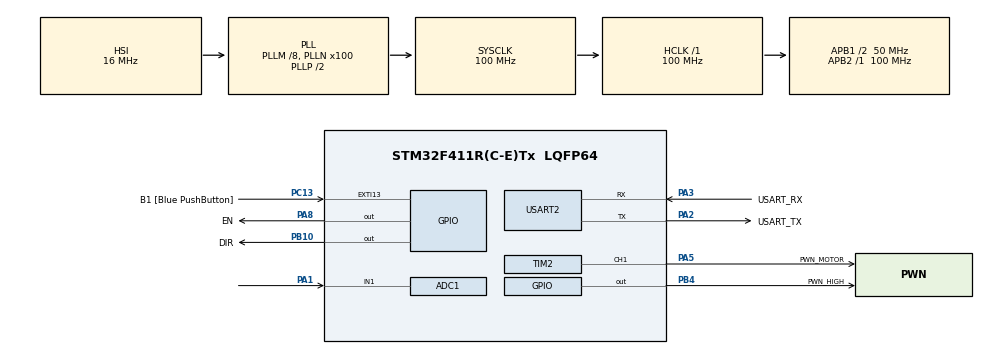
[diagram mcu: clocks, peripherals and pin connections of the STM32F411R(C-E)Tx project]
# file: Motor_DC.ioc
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ADC1.Channel-3\#ChannelRegularConversion=ADC_CHANNEL_1
ADC1.ContinuousConvMode=ENABLE
ADC1.DMAContinuousRequests=ENABLE
ADC1.NbrOfConversionFlag=1
ADC1.Rank-3\#ChannelRegularConversion=1
ADC1.SamplingTime-3\#ChannelRegularConversion=ADC_SAMPLETIME_3CYCLES
ADC1.master=1
Dma.ADC1.0.Direction=DMA_PERIPH_TO_MEMORY
Dma.ADC1.0.FIFOMode=DMA_FIFOMODE_DISABLE
Dma.ADC1.0.Instance=DMA2_Stream0
Dma.ADC1.0.MemDataAlignment=DMA_MDATAALIGN_HALFWORD
Dma.ADC1.0.MemInc=DMA_MINC_ENABLE
Dma.ADC1.0.Mode=DMA_NORMAL
Dma.ADC1.0.PeriphDataAlignment=DMA_PDATAALIGN_HALFWORD
Dma.ADC1.0.PeriphInc=DMA_PINC_DISABLE
Dma.ADC1.0.Priority=DMA_PRIORITY_LOW
Dma.Request0=ADC1
Mcu.Family=STM32F4
Mcu.Name=STM32F411R(C-E)Tx
Mcu.Package=LQFP64
NVIC.DMA2_Stream0_IRQn=true\:0\:0\:false\:false\:true\:false\:true
NVIC.PriorityGroup=NVIC_PRIORITYGROUP_0
NVIC.USART2_IRQn=true\:0\:0\:false\:false\:true\:true\:true
PA1.Signal=ADCx_IN1
PA13.GPIO_Label=TMS
PA13.Mode=Serial_Wire
PA13.Signal=SYS_JTMS-SWDIO
PA14.GPIO_Label=TCK
PA14.Mode=Serial_Wire
PA14.Signal=SYS_JTCK-SWCLK
PA2.GPIO_Label=USART_TX
PA2.Mode=Asynchronous
PA2.Signal=USART2_TX
PA3.GPIO_Label=USART_RX
PA3.Mode=Asynchronous
PA3.Signal=USART2_RX
PA5.GPIO_Label=PWN_MOTOR
PA5.Signal=S_TIM2_CH1_ETR
PA8.GPIO_Label=EN
PA8.Signal=GPIO_Output
PB10.GPIO_Label=DIR
PB10.Signal=GPIO_Output
PB3.GPIO_Label=SWO
PB3.Signal=SYS_JTDO-SWO
PB4.GPIO_Label=PWN_HIGH
PB4.Signal=GPIO_Output
PC13-ANTI_TAMP.GPIO_Label=B1 [Blue PushButton]
PC13-ANTI_TAMP.GPIO_ModeDefaultEXTI=GPIO_MODE_IT_FALLING
PC13-ANTI_TAMP.Signal=GPXTI13
PC14-OSC32_IN.Mode=LSE-External-Oscillator
PC14-OSC32_IN.Signal=RCC_OSC32_IN
PC15-OSC32_OUT.Mode=LSE-External-Oscillator
PC15-OSC32_OUT.Signal=RCC_OSC32_OUT
PH0\ -\ OSC_IN.Mode=HSE-External-Clock-Source
PH0\ -\ OSC_IN.Signal=RCC_OSC_IN
PH1\ -\ OSC_OUT.Mode=HSE-External-Clock-Source
PH1\ -\ OSC_OUT.Signal=RCC_OSC_OUT
ProjectManager.HeapSize=0x200
ProjectManager.StackSize=0x400
ProjectManager.TargetToolchain=STM32CubeIDE
RCC.48MHZClocksFreq_Value=50000000
RCC.AHBFreq_Value=100000000
RCC.APB1CLKDivider=RCC_HCLK_DIV2
RCC.APB1Freq_Value=50000000
RCC.APB1TimFreq_Value=100000000
RCC.APB2Freq_Value=100000000
RCC.APB2TimFreq_Value=100000000
RCC.CortexFreq_Value=100000000
RCC.FLatency-AdvancedSettings=FLASH_LATENCY_3
RCC.HCLKFreq_Value=100000000
RCC.HSE_VALUE=8000000
RCC.HSI_VALUE=16000000
RCC.PLLM=8
RCC.PLLN=100
RCC.SYSCLKFreq_VALUE=100000000
RCC.SYSCLKSource=RCC_SYSCLKSOURCE_PLLCLK
RCC.VCOOutputFreq_Value=200000000
SH.ADCx_IN1.0=ADC1_IN1,IN1
SH.S_TIM2_CH1_ETR.0=TIM2_CH1,PWM Generation1 CH1
TIM2.Channel-PWM\ Generation1\ CH1=TIM_CHANNEL_1
TIM2.Period=2000-1
TIM2.Pulse-PWM\ Generation1\ CH1=0
USART2.VirtualMode=VM_ASYNC
VP_TIM2_VS_ClockSourceINT.Mode=Internal
board=NUCLEO-F411RE

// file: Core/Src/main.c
/* USER CODE BEGIN Header */
/**
  ******************************************************************************
  * @file           : main.c
  * @brief          : Main program body
  ******************************************************************************
  * @attention
  *
  * <h2><center>&copy; Copyright (c) 2022 STMicroelectronics.
  * All rights reserved.</center></h2>
  *
  * This software component is licensed by ST under BSD 3-Clause license,
  * the "License"; You may not use this file except in compliance with the
  * License. You may obtain a copy of the License at:
  *                        opensource.org/licenses/BSD-3-Clause
  *
  ******************************************************************************
  */
/* USER CODE END Header */
#include "main.h"

/* USER CODE BEGIN Includes */
#include <string.h>
#include <stdio.h>
/* USER CODE END Includes */

ADC_HandleTypeDef hadc1;
DMA_HandleTypeDef hdma_adc1;

TIM_HandleTypeDef htim2;

UART_HandleTypeDef huart2;

/* USER CODE BEGIN PV */
uint16_t ADC_CONV = 0;
/* USER CODE END PV */

void SystemClock_Config(void);
static void MX_GPIO_Init(void);
static void MX_USART2_UART_Init(void);
static void MX_DMA_Init(void);
static void MX_ADC1_Init(void);
static void MX_TIM2_Init(void);
/* USER CODE BEGIN PFP */
void set_PWM_duty(float duty, TIM_HandleTypeDef *tim_n);
/* USER CODE END PFP */

int main(void)
{
  /* USER CODE BEGIN 1 */
	uint8_t msg[100];
	uint16_t msg_size;
  /* USER CODE END 1 */

  /* MCU Configuration--------------------------------------------------------*/

  /* Reset of all peripherals, Initializes the Flash interface and the Systick. */
  HAL_Init();

  /* Configure the system clock */
  SystemClock_Config();

  /* Initialize all configured peripherals */
  MX_GPIO_Init();
  MX_USART2_UART_Init();
  MX_DMA_Init();
  MX_ADC1_Init();
  MX_TIM2_Init();
  /* USER CODE BEGIN 2 */
  /*Configure GPIO pin Output Level */
  TIM2 -> CCR1 = ADC_CONV;
  // Start DMA
  HAL_ADC_Start_DMA(&hadc1, (uint32_t*) &ADC_CONV, 1);

  // Start PWM
  HAL_TIM_PWM_Start_IT(&htim2, TIM_CHANNEL_1);

  // Start motor
  HAL_GPIO_WritePin(EN_GPIO_Port, EN_Pin, GPIO_PIN_RESET);

  /* USER CODE END 2 */

  /* Infinite loop */
  /* USER CODE BEGIN WHILE */
  while (1)
  {
	if(HAL_GPIO_ReadPin(B1_GPIO_Port, B1_Pin))
		HAL_GPIO_WritePin(GPIOB, DIR_Pin, GPIO_PIN_SET);
	else
	HAL_GPIO_WritePin(GPIOB, DIR_Pin, GPIO_PIN_RESET);
	msg_size = sprintf((char*) msg,"%u\n\r",ADC_CONV);
	HAL_UART_Transmit_IT(&huart2, msg, msg_size);
    /* USER CODE END WHILE */

  }
}

void SystemClock_Config(void)
{
  RCC_OscInitTypeDef RCC_OscInitStruct = {0};
  RCC_ClkInitTypeDef RCC_ClkInitStruct = {0};

  /** Configure the main internal regulator output voltage
  */
  __HAL_RCC_PWR_CLK_ENABLE();
  __HAL_PWR_VOLTAGESCALING_CONFIG(PWR_REGULATOR_VOLTAGE_SCALE1);
  /** Initializes the RCC Oscillators according to the specified parameters
  * in the RCC_OscInitTypeDef structure.
  */
  RCC_OscInitStruct.OscillatorType = RCC_OSCILLATORTYPE_HSI;
  RCC_OscInitStruct.HSIState = RCC_HSI_ON;
  RCC_OscInitStruct.HSICalibrationValue = RCC_HSICALIBRATION_DEFAULT;
  RCC_OscInitStruct.PLL.PLLState = RCC_PLL_ON;
  RCC_OscInitStruct.PLL.PLLSource = RCC_PLLSOURCE_HSI;
  RCC_OscInitStruct.PLL.PLLM = 8;
  RCC_OscInitStruct.PLL.PLLN = 100;
  RCC_OscInitStruct.PLL.PLLP = RCC_PLLP_DIV2;
  RCC_OscInitStruct.PLL.PLLQ = 4;
  if (HAL_RCC_OscConfig(&RCC_OscInitStruct) != HAL_OK)
  {
    Error_Handler();
  }
  /** Initializes the CPU, AHB and APB buses clocks
  */
  RCC_ClkInitStruct.ClockType = RCC_CLOCKTYPE_HCLK|RCC_CLOCKTYPE_SYSCLK
                              |RCC_CLOCKTYPE_PCLK1|RCC_CLOCKTYPE_PCLK2;
  RCC_ClkInitStruct.SYSCLKSource = RCC_SYSCLKSOURCE_PLLCLK;
  RCC_ClkInitStruct.AHBCLKDivider = RCC_SYSCLK_DIV1;
  RCC_ClkInitStruct.APB1CLKDivider = RCC_HCLK_DIV2;
  RCC_ClkInitStruct.APB2CLKDivider = RCC_HCLK_DIV1;

  if (HAL_RCC_ClockConfig(&RCC_ClkInitStruct, FLASH_LATENCY_3) != HAL_OK)
  {
    Error_Handler();
  }
}

static void MX_ADC1_Init(void)
{

  ADC_ChannelConfTypeDef sConfig = {0};

  /** Configure the global features of the ADC (Clock, Resolution, Data Alignment and number of conversion)
  */
  hadc1.Instance = ADC1;
  hadc1.Init.ClockPrescaler = ADC_CLOCK_SYNC_PCLK_DIV4;
  hadc1.Init.Resolution = ADC_RESOLUTION_12B;
  hadc1.Init.ScanConvMode = DISABLE;
  hadc1.Init.ContinuousConvMode = ENABLE;
  hadc1.Init.DiscontinuousConvMode = DISABLE;
  hadc1.Init.ExternalTrigConvEdge = ADC_EXTERNALTRIGCONVEDGE_NONE;
  hadc1.Init.ExternalTrigConv = ADC_SOFTWARE_START;
  hadc1.Init.DataAlign = ADC_DATAALIGN_RIGHT;
  hadc1.Init.NbrOfConversion = 1;
  hadc1.Init.DMAContinuousRequests = ENABLE;
  hadc1.Init.EOCSelection = ADC_EOC_SINGLE_CONV;
  if (HAL_ADC_Init(&hadc1) != HAL_OK)
  {
    Error_Handler();
  }
  /** Configure for the selected ADC regular channel its corresponding rank in the sequencer and its sample time.
  */
  sConfig.Channel = ADC_CHANNEL_1;
  sConfig.Rank = 1;
  sConfig.SamplingTime = ADC_SAMPLETIME_3CYCLES;
  if (HAL_ADC_ConfigChannel(&hadc1, &sConfig) != HAL_OK)
  {
    Error_Handler();
  }

}

static void MX_TIM2_Init(void)
{

  TIM_ClockConfigTypeDef sClockSourceConfig = {0};
  TIM_MasterConfigTypeDef sMasterConfig = {0};
  TIM_OC_InitTypeDef sConfigOC = {0};

  htim2.Instance = TIM2;
  htim2.Init.Prescaler = 0;
  htim2.Init.CounterMode = TIM_COUNTERMODE_UP;
  htim2.Init.Period = 2000-1;
  htim2.Init.ClockDivision = TIM_CLOCKDIVISION_DIV1;
  htim2.Init.AutoReloadPreload = TIM_AUTORELOAD_PRELOAD_DISABLE;
  if (HAL_TIM_Base_Init(&htim2) != HAL_OK)
  {
    Error_Handler();
  }
  sClockSourceConfig.ClockSource = TIM_CLOCKSOURCE_INTERNAL;
  if (HAL_TIM_ConfigClockSource(&htim2, &sClockSourceConfig) != HAL_OK)
  {
    Error_Handler();
  }
  if (HAL_TIM_PWM_Init(&htim2) != HAL_OK)
  {
    Error_Handler();
  }
  sMasterConfig.MasterOutputTrigger = TIM_TRGO_RESET;
  sMasterConfig.MasterSlaveMode = TIM_MASTERSLAVEMODE_DISABLE;
  if (HAL_TIMEx_MasterConfigSynchronization(&htim2, &sMasterConfig) != HAL_OK)
  {
    Error_Handler();
  }
  sConfigOC.OCMode = TIM_OCMODE_PWM1;
  sConfigOC.Pulse = 0;
  sConfigOC.OCPolarity = TIM_OCPOLARITY_HIGH;
  sConfigOC.OCFastMode = TIM_OCFAST_DISABLE;
  if (HAL_TIM_PWM_ConfigChannel(&htim2, &sConfigOC, TIM_CHANNEL_1) != HAL_OK)
  {
    Error_Handler();
  }
  HAL_TIM_MspPostInit(&htim2);

}

static void MX_USART2_UART_Init(void)
{

  huart2.Instance = USART2;
  huart2.Init.BaudRate = 115200;
  huart2.Init.WordLength = UART_WORDLENGTH_8B;
  huart2.Init.StopBits = UART_STOPBITS_1;
  huart2.Init.Parity = UART_PARITY_NONE;
  huart2.Init.Mode = UART_MODE_TX_RX;
  huart2.Init.HwFlowCtl = UART_HWCONTROL_NONE;
  huart2.Init.OverSampling = UART_OVERSAMPLING_16;
  if (HAL_UART_Init(&huart2) != HAL_OK)
  {
    Error_Handler();
  }

}

static void MX_DMA_Init(void)
{

  /* DMA controller clock enable */
  __HAL_RCC_DMA2_CLK_ENABLE();

  /* DMA interrupt init */
  /* DMA2_Stream0_IRQn interrupt configuration */
  HAL_NVIC_SetPriority(DMA2_Stream0_IRQn, 0, 0);
  HAL_NVIC_EnableIRQ(DMA2_Stream0_IRQn);

}

static void MX_GPIO_Init(void)
{
  GPIO_InitTypeDef GPIO_InitStruct = {0};

  /* GPIO Ports Clock Enable */
  __HAL_RCC_GPIOC_CLK_ENABLE();
  __HAL_RCC_GPIOH_CLK_ENABLE();
  __HAL_RCC_GPIOA_CLK_ENABLE();
  __HAL_RCC_GPIOB_CLK_ENABLE();

  /*Configure GPIO pin Output Level */
  HAL_GPIO_WritePin(GPIOB, DIR_Pin|PWN_HIGH_Pin, GPIO_PIN_RESET);

  /*Configure GPIO pin Output Level */
  HAL_GPIO_WritePin(EN_GPIO_Port, EN_Pin, GPIO_PIN_RESET);

  /*Configure GPIO pin : B1_Pin */
  GPIO_InitStruct.Pin = B1_Pin;
  GPIO_InitStruct.Mode = GPIO_MODE_IT_FALLING;
  GPIO_InitStruct.Pull = GPIO_NOPULL;
  HAL_GPIO_Init(B1_GPIO_Port, &GPIO_InitStruct);

  /*Configure GPIO pins : DIR_Pin PWN_HIGH_Pin */
  GPIO_InitStruct.Pin = DIR_Pin|PWN_HIGH_Pin;
  GPIO_InitStruct.Mode = GPIO_MODE_OUTPUT_PP;
  GPIO_InitStruct.Pull = GPIO_NOPULL;
  GPIO_InitStruct.Speed = GPIO_SPEED_FREQ_LOW;
  HAL_GPIO_Init(GPIOB, &GPIO_InitStruct);

  /*Configure GPIO pin : EN_Pin */
  GPIO_InitStruct.Pin = EN_Pin;
  GPIO_InitStruct.Mode = GPIO_MODE_OUTPUT_PP;
  GPIO_InitStruct.Pull = GPIO_NOPULL;
  GPIO_InitStruct.Speed = GPIO_SPEED_FREQ_LOW;
  HAL_GPIO_Init(EN_GPIO_Port, &GPIO_InitStruct);

}

/* USER CODE BEGIN 4 */
void HAL_ADC_ConvCpltCallback(ADC_HandleTypeDef* hadc){ // set call back
	TIM2 -> CCR1 = (ADC_CONV * 2000 / 4096);
	HAL_ADC_Start_DMA(&hadc1, (uint32_t*) &ADC_CONV, 1);
}

/* USER CODE END 4 */

void Error_Handler(void)
{
  __disable_irq();
  while (1)
  {
  }
}

/************************ (C) COPYRIGHT STMicroelectronics *****END OF FILE****/
